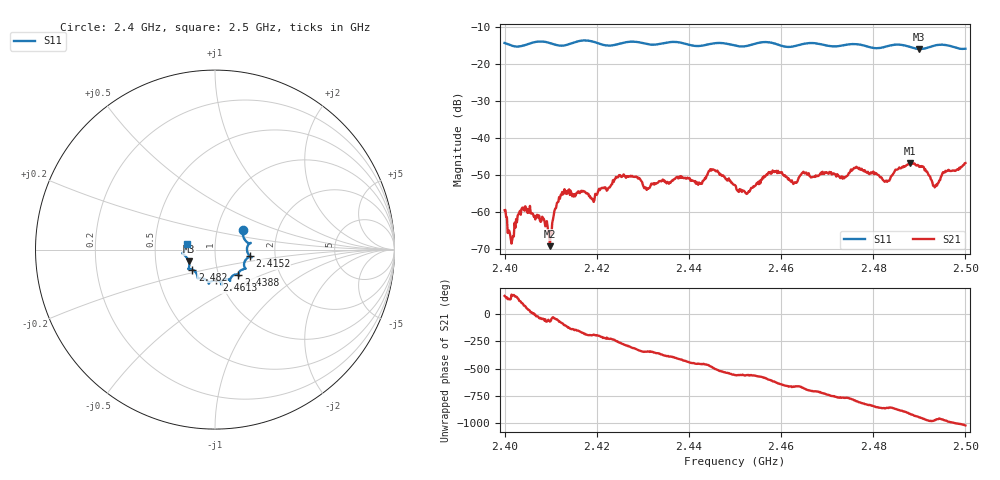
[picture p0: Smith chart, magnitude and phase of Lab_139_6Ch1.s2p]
# Hz S RI R 50
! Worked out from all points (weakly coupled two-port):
!   601 points, 2.4 GHz to 2.5 GHz, reference 50 ohm
!   highest |S21| = -46.67 dB at 2.488 GHz (marker M1); lowest = -69.2 dB at 2.4098 GHz (marker M2)
!   lowest |S11| = -15.9 dB at 2.49 GHz (marker M3), VSWR 1.38, Z = 36.9 - j4.88 ohm
!   |S11| at or under -10 dB: start of sweep to end of sweep
!   S12 and S22 are empty: the file has one direction only
!   S11 on the Smith chart (normalised r, x): 2.4 GHz: 1.33, +0.31; 2.4152 GHz: 1.48, -0.11; 2.4388 GHz: 1.24, -0.36; 2.4613 GHz: 0.96, -0.34; 2.482 GHz: 0.76, -0.17; 2.5 GHz: 0.72, +0.05
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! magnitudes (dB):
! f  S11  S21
! 2.4 GHz  -14.3  -59.5
! 2.4015 GHz  -15.0  -68.5
! 2.4042 GHz  -14.9  -58.7
! 2.4098 GHz  -14.3  -69.2
! 2.412 GHz  -15.0  -56.4
! 2.4152 GHz  -14.1  -55.1
! 2.4167 GHz  -13.6  -54.2
! 2.4192 GHz  -13.9  -56.5
! 2.4253 GHz  -14.3  -50.5
! 2.4333 GHz  -14.6  -51.9
! 2.4388 GHz  -14.4  -50.8
! 2.4452 GHz  -14.4  -48.4
! 2.45 GHz  -15.0  -52.7
! 2.4613 GHz  -15.3  -50.6
! 2.4667 GHz  -14.3  -50.5
! 2.4765 GHz  -14.6  -47.9
! 2.482 GHz  -15.5  -51.1
! 2.4833 GHz  -15.0  -51.5
! 2.488 GHz  -15.4  -46.7
! 2.49 GHz  -15.9  -47.8
! 2.4935 GHz  -14.9  -53.1
! 2.5 GHz  -15.8  -46.7
